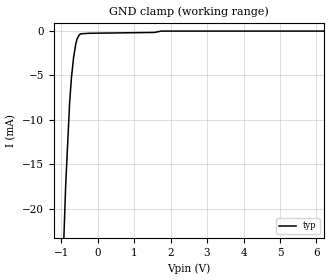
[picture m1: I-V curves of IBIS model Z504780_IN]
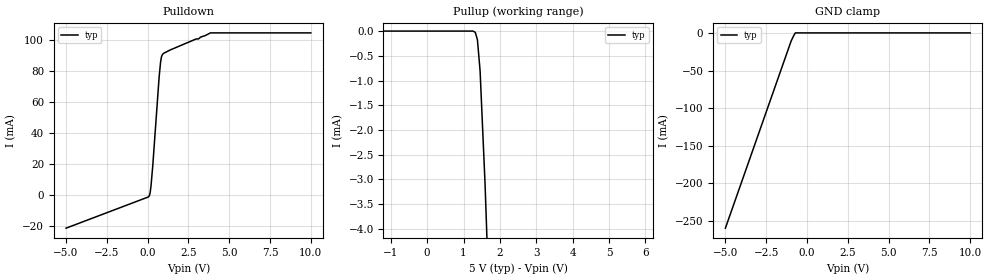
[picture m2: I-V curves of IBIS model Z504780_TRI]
| YOU ARE ONLY AUTHORIZED TO USE THIS SOFTWARE
| ACCORDING TO LICENSOR'S LICENSE RESTRICTIONS.
[IBIS Ver] 3.1
[File Name] sn54ls670j.ibs
[File Rev] 2.0
[Source] Measured and created by ICX Technology
[Date] Friday 7/14/00 9:08:15 AM
[Copyright]
| (C) COPYRIGHT 1993-2000
| MENTOR GRAPHICS CORPORATION
| ICX STANDARD LIBRARY, ICX PROJECT MODELING,
| ICX CUSTOM MODELING, ICX VENDOR MODEL
| ALL RIGHTS RESERVED.
| THE FOLLOWING ARE TRADEMARKS OR SERVICE MARKS OF
| MENTOR GRAPHICS CORPORATION:ICX (R), ICX STANDARD
| LIBRARY(R), ICX PROJECT MODELING(R), ICX CUSTOM
| MODELING(R), qualityIBIS(TM), MODELVIEWER(TM),
| AND MODELEDITOR(TM)
| ALL COPIES OF SOFTWARE, INCLUDING BUT NOT LIMITED TO
| ANY MODIFICATIONS, ENHANCEMENTS OR DERIVATIVE WORKS,
| MUST CONTAIN ALL MENTOR GRAPHICS CORPORATION'S
| NOTICES AND LEGENDS, INCLUDING THOSE EMBEDDED IN
| SOFTWARE AND THOSE AFFIXED TO SOFTWARE MEDIUM
| AND CONTAINER, AS RECEIVED FROM MENTOR GRAPHICS
| CORPORATION.
|  ZAP Model Builder 2.7
[Component] SN54LS670J
[Manufacturer] OnSemiconductor
[Package]
| variable   typ   min   max
R_pkg  .212ohms NA NA
L_pkg  4.758nH NA NA
C_pkg  1.944pF NA NA
[Pin] signal_name  model_name  R_pin  L_pin C_pin
1 D1 Z504780_IN .224 7.258n 2.683p
2 D2 Z504780_IN .216 5.258n 2.19p
3 D3 Z504780_IN .208 3.758n 1.697p
4 RB Z504780_IN .2 2.758n 1.204p
5 RA Z504780_IN .2 2.758n 1.204p
6 Q3 Z504780_TRI .208 3.758n 1.697p
7 Q2 Z504780_TRI .216 5.258n 2.19p
8 GND GND .224 7.258n 2.683p
9 Q1 Z504780_TRI .224 7.258n 2.683p
10 Q0 Z504780_TRI .216 5.258n 2.19p
11 _RE Z504780_IN .208 3.758n 1.697p
12 _WE Z504780_IN .2 2.758n 1.204p
13 WB Z504780_IN .2 2.758n 1.204p
14 WA Z504780_IN .208 3.758n 1.697p
15 D0 Z504780_IN .216 5.258n 2.19p
16 VCC POWER .224 7.258n 2.683p
| Models and submodels in the file (2): Z504780_IN (Input), Z504780_TRI (3-state)
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| (C) COPYRIGHT 1993-2000
| MENTOR GRAPHICS CORPORATION
| ICX STANDARD LIBRARY, ICX PROJECT MODELING,
| ICX CUSTOM MODELING, ICX VENDOR MODEL
| ALL RIGHTS RESERVED.
| THE FOLLOWING ARE TRADEMARKS OR SERVICE MARKS OF
| MENTOR GRAPHICS CORPORATION:ICX (R), ICX STANDARD
| LIBRARY(R), ICX PROJECT MODELING(R), ICX CUSTOM
| MODELING(R), qualityIBIS(TM), MODELVIEWER(TM),
| AND MODELEDITOR(TM)
| ALL COPIES OF SOFTWARE, INCLUDING BUT NOT LIMITED TO
| ANY MODIFICATIONS, ENHANCEMENTS OR DERIVATIVE WORKS,
| MUST CONTAIN ALL MENTOR GRAPHICS CORPORATION'S
| NOTICES AND LEGENDS, INCLUDING THOSE EMBEDDED IN
| SOFTWARE AND THOSE AFFIXED TO SOFTWARE MEDIUM
| AND CONTAINER, AS RECEIVED FROM MENTOR GRAPHICS
| CORPORATION.
| Model Application Version 1.89 2/18/99.
[Model] Z504780_IN
Model_type Input
Vinl = 800.0mV
Vinh = 2.000V
C_comp 4.000pF NA NA
| variable typ   min   max
[Voltage Range] 5.000V NA NA
[GND Clamp Reference] 0.000V NA NA
[POWER Clamp Reference] 5.000V NA NA
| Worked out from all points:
|   GND clamp passes 1 mA (typ) near -0.57 V on its own axis
[GND Clamp]
-5V       -508.8mA   NA         NA
-873.7mV  -17.24mA   NA         NA
-766.4mV  -8.076mA   NA         NA
-717.5mV  -5.272mA   NA         NA
-657.2mV  -2.953mA   NA         NA
-595.6mV  -1.412mA   NA         NA
-561.5mV  -892.2uA   NA         NA
-502.9mV  -432.9uA   NA         NA
-463.9mV  -310.7uA   NA         NA
1.563V    -156.6uA   NA         NA
1.743V    -5.718uA   NA         NA
10V       -5.718uA   NA         NA
[POWER Clamp]
-5V       0A         NA         NA
10V       0A         NA         NA
| (C) COPYRIGHT 1993-2000
| MENTOR GRAPHICS CORPORATION
| ICX STANDARD LIBRARY, ICX PROJECT MODELING,
| ICX CUSTOM MODELING, ICX VENDOR MODEL
| ALL RIGHTS RESERVED.
| THE FOLLOWING ARE TRADEMARKS OR SERVICE MARKS OF
| MENTOR GRAPHICS CORPORATION:ICX (R), ICX STANDARD
| LIBRARY(R), ICX PROJECT MODELING(R), ICX CUSTOM
| MODELING(R), qualityIBIS(TM), MODELVIEWER(TM),
| AND MODELEDITOR(TM)
| ALL COPIES OF SOFTWARE, INCLUDING BUT NOT LIMITED TO
| ANY MODIFICATIONS, ENHANCEMENTS OR DERIVATIVE WORKS,
| MUST CONTAIN ALL MENTOR GRAPHICS CORPORATION'S
| NOTICES AND LEGENDS, INCLUDING THOSE EMBEDDED IN
| SOFTWARE AND THOSE AFFIXED TO SOFTWARE MEDIUM
| AND CONTAINER, AS RECEIVED FROM MENTOR GRAPHICS
| CORPORATION.
| Model Application Version 1.89 2/18/99.
[Model] Z504780_TRI
Model_type 3-state
Vref=588.0mV
Rref=588.5ohms
Cref=45.00pF
Vmeas=1.300V
C_comp 8.000pF NA NA
| variable typ   min   max
[Voltage Range] 5.000V NA NA
[POWER Clamp Reference] 5.000V NA NA
[Pullup Reference] 5.000V NA NA
[Pulldown Reference] 0.000V NA NA
[GND Clamp Reference] 0.000V NA NA
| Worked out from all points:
|   slope of the pulldown table from 0 to 0.75 V, typ, clamps not added: 9.11 ohm
|   GND clamp passes 1 mA (typ) near -0.74 V on its own axis
[GND Clamp]
-5V       -259.6mA   NA         NA
-971.7mV  -10.84mA   NA         NA
-837.7mV  -4.721mA   NA         NA
-718mV    0A         NA         NA
10V       0A         NA         NA
[Pulldown]
-5V       -21.37mA   NA         NA
29.34mV   -1.347mA   NA         NA
107.4mV   -371.5uA   NA         NA
151.2mV   1.235mA    NA         NA
203.9mV   5.568mA    NA         NA
312mV     18.51mA    NA         NA
704.9mV   76mA       NA         NA
792mV     85.43mA    NA         NA
846.8mV   88.93mA    NA         NA
986.4mV   91.19mA    NA         NA
3.846V    104.3mA    NA         NA
10V       104.3mA    NA         NA
[Pullup]
-5V       2.064uA    NA         NA
1.261V    2.064uA    NA         NA
1.324V    -25.06uA   NA         NA
1.382V    -174.4uA   NA         NA
1.455V    -799.5uA   NA         NA
1.592V    -3.094mA   NA         NA
10V       -182.7mA   NA         NA
[POWER Clamp]
-5V       0A         NA         NA
10V       0A         NA         NA
[Ramp]
| variable typ min max
dV/dt_r 1.882/14.31n NA NA
dV/dt_f 1.882/2.352n NA NA
R_load = 500.0Ohms
